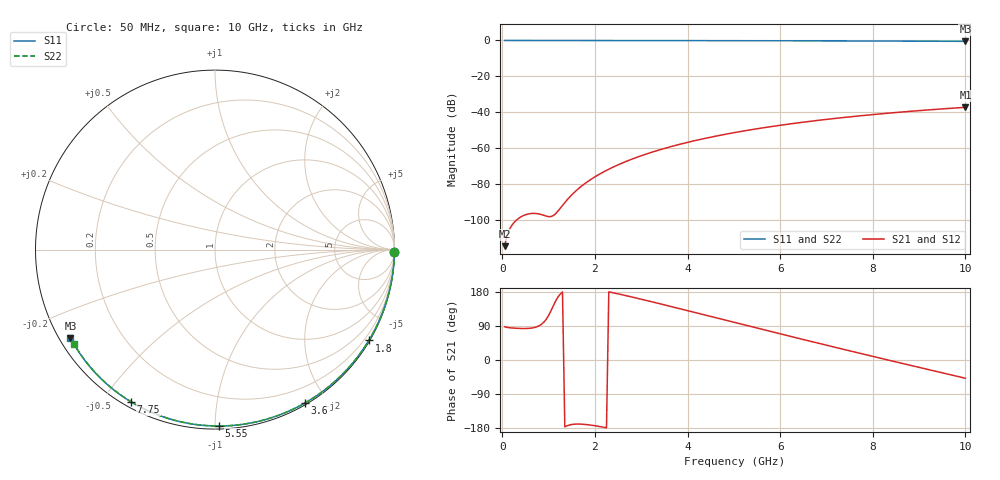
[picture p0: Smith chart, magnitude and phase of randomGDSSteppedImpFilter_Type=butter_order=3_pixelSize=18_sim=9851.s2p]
! freq	dB(S11)	phase(S11)	dB(S12)	phase(S12)
!  dB(S21)	phase(S21)	dB(S22)	phase(S22)
!S-par simulation data
#  GHz  S  DB  R 50
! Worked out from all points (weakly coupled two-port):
!   200 points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, 50 MHz to 10 GHz, reference 50 ohm
!   highest |S21| = -37.29 dB at 10 GHz (marker M1); lowest = -114.7 dB at 50 MHz (marker M2)
!   lowest |S11| = -0.5 dB at 10 GHz (marker M3), VSWR 34.66, Z = 1.56 - j14.1 ohm
!   |S11| at or under -10 dB: nowhere
!   |S22| runs from -0.5 to 0.0 dB; largest |S21 - S12| = 0
!   S11 on the Smith chart (normalised r, x): 50 MHz: open; 1.8 GHz: 0.03, -3.66; 3.6 GHz: 0.02, -1.75; 5.55 GHz: 0.02, -1.02; 7.75 GHz: 0.02, -0.59; 10 GHz: 0.03, -0.28
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0.05  -0.00 -0.9  -114.74 87.8  -114.74 87.8  -0.00 -0.9
0.45  -0.01 -7.8  -97.74 83.0  -97.74 83.0  -0.01 -7.7
0.9  -0.02 -15.4  -97.57 100.1  -97.57 100.1  -0.02 -15.2
1.3  -0.03 -22.2  -92.00 179.5  -92.00 179.5  -0.03 -21.9
1.75  -0.04 -29.7  -80.47 -169.6  -80.47 -169.6  -0.04 -29.3
1.8  -0.04 -30.5  -79.50 -170.2  -79.50 -170.2  -0.04 -30.1
1.95  -0.04 -33.0  -76.87 -172.5  -76.87 -172.5  -0.04 -32.6
2.1  -0.05 -35.5  -74.55 -175.5  -74.55 -175.5  -0.04 -35.0
2.3  -0.05 -38.8  -71.80 179.8  -71.80 179.8  -0.05 -38.3
2.5  -0.05 -42.0  -69.38 174.6  -69.38 174.6  -0.05 -41.5
2.9  -0.06 -48.5  -65.22 163.4  -65.22 163.4  -0.06 -47.8
3.4  -0.08 -56.4  -60.98 148.5  -60.98 148.5  -0.07 -55.7
3.6  -0.08 -59.5  -59.50 142.5  -59.50 142.5  -0.08 -58.7
4.3  -0.10 -70.3  -55.06 121.1  -55.06 121.1  -0.10 -69.3
5.05  -0.13 -81.4  -51.22 98.1  -51.22 98.1  -0.12 -80.3
5.55  -0.15 -88.6  -49.05 82.8  -49.05 82.8  -0.14 -87.4
6.1  -0.17 -96.4  -46.95 66.1  -46.95 66.1  -0.17 -95.1
6.7  -0.20 -104.7  -44.94 48.0  -44.94 48.0  -0.20 -103.3
7.75  -0.28 -118.9  -41.96 16.9  -41.96 16.9  -0.27 -117.2
8.35  -0.33 -126.8  -40.52 -0.7  -40.52 -0.7  -0.32 -125.0
9.2  -0.41 -138.0  -38.73 -25.2  -38.73 -25.2  -0.40 -136.0
10  -0.50 -148.5  -37.29 -48.1  -37.29 -48.1  -0.49 -146.2
